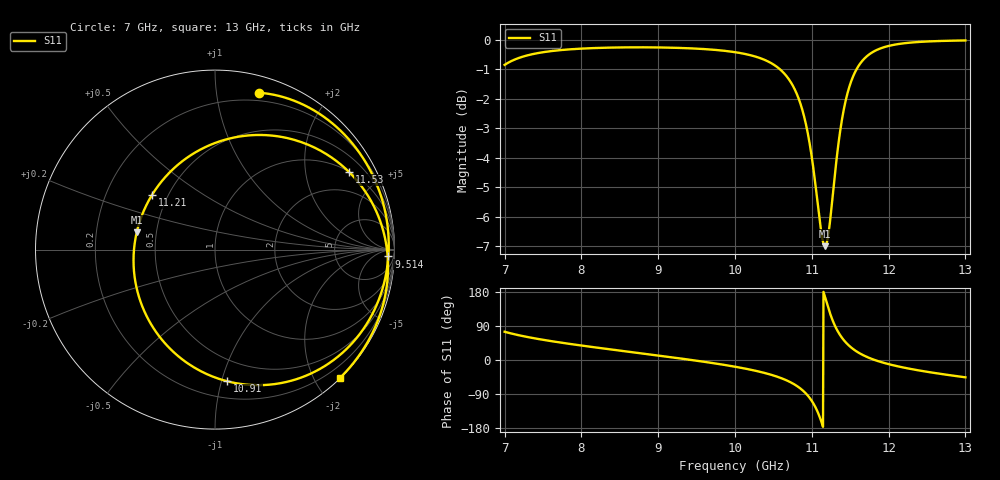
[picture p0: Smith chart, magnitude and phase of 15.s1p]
! TOUCHSTONE file generated by CST MICROWAVE STUDIO
! Date and time: Wed Sep 25 16:55:54 2024
! Project name: unit_cell_optimization_L=10.0_Wgap=1.0_Wline=1.42.cst
! Parameters = {A=1.30817; AB_sqInv=0.584128; B=0.025494; C0=2.097; Cj=0.243374; Cp=0.075; Ct=0.317982; ImZ=-50.0516; L=10; L1=0.3; L_back=16.1559; Lp=0.35; Lpad=0.75; M=1.199; R=5.41; R_cav=0.5; R_sogl=4.36377; ReZ=3.16013; Rt=3.16013; V=15; Vj=2.984; W=10; W1=-0.15; W2=-0.15; Wcoop=3.29; Wgap=1; W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
! Header version: 2024
! Port assignment regex: !\s*Touchstone port\s*([0-9]+)\s*=\s*(CST MWS port|CST DES external port|CST DES block port)\s*(.+)\s* \(\"(.*)\"\)(\s*mode\s*([0-9]+))?.*
! Touchstone port assignment:
! Touchstone port 1 = CST MWS port Zmax ("") mode 1
! S-Parameters are not renormalized. Unphysical impedance of 50 will be written to the file.
# GHz S RI R 50
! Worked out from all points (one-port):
!   1001 points, 7 GHz to 13 GHz, reference per port
!   lowest |S11| = -7.0 dB at 11.17 GHz (marker M1), VSWR 2.61
!   |S11| at or under -10 dB: nowhere
!   S11 on the Smith chart (normalised r, x): 7 GHz: 0.13, +1.31; 9.514 GHz: 25, -29; 10.91 GHz: 0.33, -1.04; 11.21 GHz: 0.41, +0.32; 11.53 GHz: 1.01, +3.43; 13 GHz: 0.01, -2.37
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7  0.2425 0.8744
7.342  0.4874 0.8095
7.75  0.6757 0.6846
8.5  0.8818 0.4074
9.25  0.966 0.0863
9.514  0.9659 -0.0383
10  0.9084 -0.2899
10.246  0.8331 -0.4331
10.45  0.7249 -0.5614
10.612  0.5846 -0.6648
10.75  0.398 -0.7374
10.906  0.0664 -0.7331
10.978  -0.1325 -0.6466
11.038  -0.2986 -0.4984
11.11  -0.4377 -0.2097
11.17  -0.4363 0.0956
11.212  -0.3517 0.3032
11.278  -0.1076 0.5427
11.338  0.1588 0.6331
11.422  0.482 0.5985
11.5  0.6883 0.4843
11.53  0.7457 0.4335
11.638  0.8797 0.2521
11.782  0.9509 0.0462
11.992  0.9602 -0.1779
12.25  0.9159 -0.373
12.598  0.8232 -0.5597
13  0.6971 -0.7145
